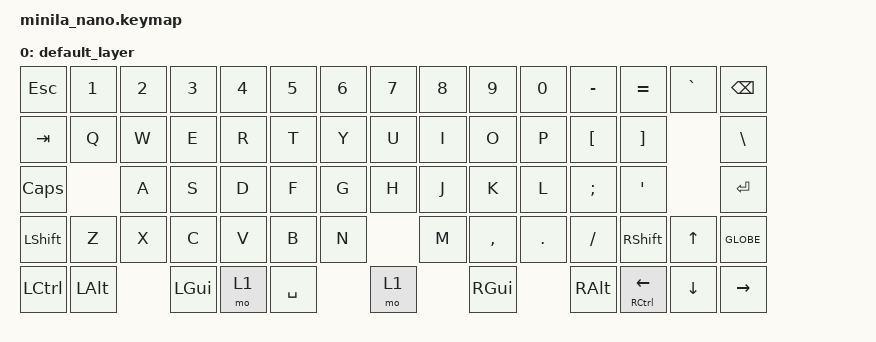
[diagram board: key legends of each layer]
/*
 * Copyright (c) 2020 The ZMK Contributors
 *
 * SPDX-License-Identifier: MIT
 */

#include <behaviors.dtsi>
#include <dt-bindings/zmk/bt.h>
#include <dt-bindings/zmk/keys.h>
#include <dt-bindings/zmk/outputs.h>

/ {
    keymap {
        compatible = "zmk,keymap";

        default_layer {
            // ------------------------------------------------------------------------------------------
            // | ESC |  1  |  2  |  3  |  4  |  5  |  6  |  7  |  8  |  9  |  0  |  -  |  =  | BKSP | LT(2,BKSP) |
            // | TAB  |  Q  |  W  |  E  |  R  |  T  |  Y  |  U  |  I  |  O  |  P  |  [  |  ]  |    \    |
            // | CAPS  |  A  |  S  |  D  |  F  |  G  |  H  |  J  |  K  |  L  |  ;  |  '  |     ENTER    |
            // |  SHIFT |  Z  |  X  |  C  |  V  |  B  |  N  |  M  |  ,  |  .  |  /  |    SHIFT     |  UP  | GLOBE |
            // |  CTL  | ALT | WIN |LT(1,SPACE)| LT(1,SPACE) |LT(1,SPACE)| WIN | OPT |MT(CTRL,LEFT)| DOWN | RIGHT|
            // ------------------------------------------------------------------------------------------

            bindings = <
&kp ESC          &kp N1    &kp N2  &kp N3    &kp N4       &kp N5  &kp N6       &kp N7  &kp N8       &kp N9     &kp N0   &kp MINUS  &kp EQUAL      &kp GRAVE  &kp BSPC
&kp TAB          &kp Q     &kp W   &kp E     &kp R        &kp T   &kp Y        &kp U   &kp I        &kp O      &kp P    &kp LBKT   &kp RBKT                  &kp BSLH
&kp CAPS                   &kp A   &kp S     &kp D        &kp F   &kp G        &kp H   &kp J        &kp K      &kp L    &kp SEMI   &kp SQT                   &kp RET
&kp LSHFT                  &kp Z   &kp X     &kp C        &kp V   &kp B        &kp N   &kp M        &kp COMMA  &kp DOT  &kp FSLH   &kp RSHFT       &kp UP    &kp GLOBE
&kp LCTRL        &kp LALT          &kp LGUI  &mo 1          &kp SPACE              &mo 1            &kp RGUI            &kp RALT   &mt RCTRL LEFT  &kp DOWN  &kp RIGHT
            >;
        };

    };
};
